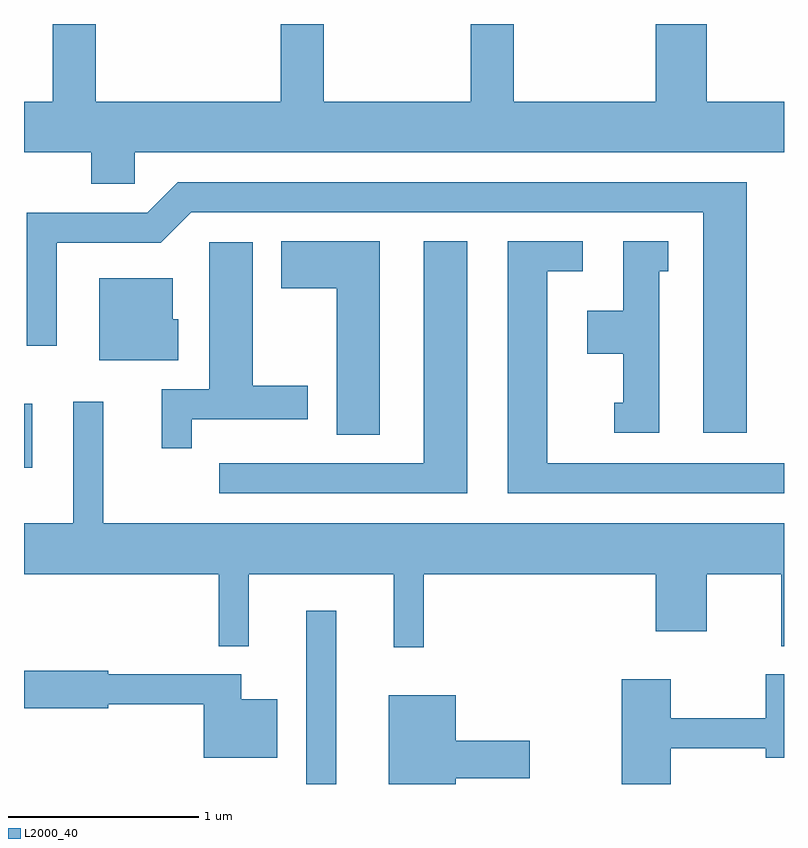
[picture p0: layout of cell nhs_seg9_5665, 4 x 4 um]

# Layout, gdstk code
import gdstk
lib = gdstk.Library(unit=1e-6, precision=1e-09)
def R(c, l, rs):  # rectangles x0, y0, x1, y1
    for r in rs: c.add(gdstk.rectangle(r[:2], r[2:], *l))
def P(c, l, *ps):  # polygons
    for p in ps: c.add(gdstk.Polygon(p, *l))
L2000_40 = (2000, 40)

nhs_seg9_5665 = lib.new_cell('nhs_seg9_5665')
R(nhs_seg9_5665, L2000_40, [(353.096,2048.432,353.254,2049.343), (351.611,2050.096,351.654,2050.434)])
P(nhs_seg9_5665, L2000_40, [(352.194,2051.756),(355.611,2051.756),(355.611,2052.024),(355.204,2052.024),(355.204,2052.432),(354.936,2052.432),(354.936,2052.024),(354.189,2052.024),(354.189,2052.432),(353.961,2052.432),(353.961,2052.024),(353.189,2052.024),(353.189,2052.432),(352.961,2052.432),(352.961,2052.024),(351.989,2052.024),(351.989,2052.432),(351.761,2052.432),(351.761,2052.024),(351.611,2052.024),(351.611,2051.756),(351.966,2051.756),(351.966,2051.591),(352.194,2051.591)],
  [(355.414,2051.599),(352.419,2051.599),(352.259,2051.439),(351.626,2051.439),(351.626,2050.738),(351.784,2050.738),(351.784,2051.281),(352.332,2051.281),(352.492,2051.441),(355.186,2051.441),(355.186,2050.281),(355.414,2050.281)],
  [(355.611,2050.119),(354.364,2050.119),(354.364,2051.131),(354.553,2051.131),(354.553,2051.289),(354.156,2051.289),(354.156,2049.961),(355.611,2049.961)],
  [(354.954,2051.131),(355.003,2051.131),(355.003,2051.289),(354.766,2051.289),(354.766,2050.924),(354.576,2050.924),(354.576,2050.696),(354.766,2050.696),(354.766,2050.439),(354.718,2050.439),(354.718,2050.281),(354.954,2050.281)],
  [(353.484,2051.289),(352.966,2051.289),(352.966,2051.041),(353.256,2051.041),(353.256,2050.271),(353.484,2050.271)],
  [(353.944,2051.289),(353.716,2051.289),(353.716,2050.119),(352.638,2050.119),(352.638,2049.961),(353.944,2049.961)],
  [(352.494,2050.351),(353.104,2050.351),(353.104,2050.529),(352.814,2050.529),(352.814,2051.284),(352.586,2051.284),(352.586,2050.509),(352.336,2050.509),(352.336,2050.198),(352.494,2050.198)],
  [(352.424,2050.879),(352.394,2050.879),(352.394,2051.094),(352.006,2051.094),(352.006,2050.661),(352.424,2050.661)],
  [(353.714,2049.536),(354.936,2049.536),(354.936,2049.236),(355.204,2049.236),(355.204,2049.536),(355.596,2049.536),(355.596,2049.158),(355.611,2049.158),(355.611,2049.804),(352.029,2049.804),(352.029,2050.443),(351.871,2050.443),(351.871,2049.804),(351.611,2049.804),(351.611,2049.536),(352.636,2049.536),(352.636,2049.158),(352.794,2049.158),(352.794,2049.536),(353.556,2049.536),(353.556,2049.153),(353.714,2049.153)],
  [(352.944,2048.879),(352.754,2048.879),(352.754,2049.009),(352.054,2049.009),(352.054,2049.029),(351.611,2049.029),(351.611,2048.831),(352.054,2048.831),(352.054,2048.851),(352.556,2048.851),(352.556,2048.571),(352.944,2048.571)],
  [(355.014,2048.621),(355.516,2048.621),(355.516,2048.571),(355.611,2048.571),(355.611,2049.009),(355.516,2049.009),(355.516,2048.779),(355.014,2048.779),(355.014,2048.984),(354.756,2048.984),(354.756,2048.432),(355.014,2048.432)],
  [(353.884,2048.461),(354.274,2048.461),(354.274,2048.659),(353.884,2048.659),(353.884,2048.899),(353.531,2048.899),(353.531,2048.432),(353.884,2048.432)])

lib.write_gds('nhs_seg9_5665.gds')
